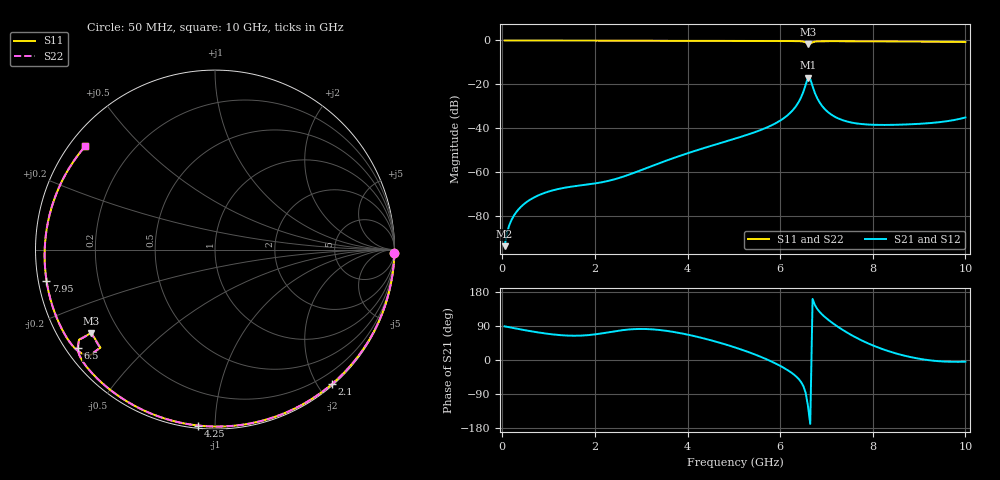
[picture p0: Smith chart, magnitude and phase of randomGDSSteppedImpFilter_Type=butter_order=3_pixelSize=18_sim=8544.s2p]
! freq	dB(S11)	phase(S11)	dB(S12)	phase(S12)
!  dB(S21)	phase(S21)	dB(S22)	phase(S22)
!S-par simulation data
#  GHz  S  DB  R 50
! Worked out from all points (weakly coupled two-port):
!   200 points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, 50 MHz to 10 GHz, reference 50 ohm
!   highest |S21| = -17.00 dB at 6.6 GHz (marker M1); lowest = -93.7 dB at 50 MHz (marker M2)
!   lowest |S11| = -1.6 dB at 6.6 GHz (marker M3), VSWR 10.76, Z = 5.07 - j15.1 ohm
!   |S11| at or under -10 dB: nowhere
!   |S22| runs from -1.6 to 0.0 dB; largest |S21 - S12| = 0
!   S11 on the Smith chart (normalised r, x): 50 MHz: 0, -95; 2.1 GHz: 0.02, -2.19; 4.25 GHz: 0.01, -0.91; 6.5 GHz: 0.03, -0.32; 7.95 GHz: 0.02, -0.09; 10 GHz: 0.04, +0.35
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0.05  -0.00 -1.2  -93.69 88.8  -93.69 88.8  -0.00 -1.2
0.25  -0.01 -6.0  -79.79 84.1  -79.79 84.1  -0.01 -6.0
0.5  -0.02 -11.9  -73.99 78.4  -73.99 78.4  -0.02 -11.9
0.85  -0.03 -20.2  -69.92 71.4  -69.92 71.4  -0.03 -20.2
1.75  -0.05 -41.2  -65.85 64.7  -65.85 64.7  -0.05 -41.2
2.1  -0.06 -49.1  -64.78 69.3  -64.78 69.3  -0.06 -49.1
3.4  -0.10 -77.7  -55.83 79.1  -55.83 79.1  -0.10 -77.7
4.25  -0.13 -95.5  -49.69 60.0  -49.69 60.0  -0.13 -95.5
5.05  -0.17 -111.8  -44.56 32.2  -44.56 32.2  -0.17 -111.8
6.05  -0.24 -132.4  -35.82 -18.7  -35.82 -18.7  -0.24 -132.4
6.3  -0.28 -138.1  -31.07 -38.7  -31.07 -38.7  -0.28 -138.1
6.5  -0.51 -144.3  -23.46 -68.5  -23.46 -68.5  -0.51 -144.2
6.6  -1.62 -146.0  -17.00 -120.7  -17.00 -120.7  -1.60 -146.0
6.65  -1.51 -139.5  -17.49 -168.7  -17.49 -168.7  -1.49 -139.5
6.7  -0.82 -139.7  -20.87 161.1  -20.87 161.1  -0.82 -139.8
6.85  -0.40 -145.0  -28.16 127.2  -28.16 127.2  -0.40 -145.0
7.1  -0.34 -151.2  -33.70 100.4  -33.70 100.4  -0.34 -151.2
7.45  -0.36 -158.9  -36.95 72.0  -36.95 72.0  -0.36 -158.9
7.95  -0.40 -169.6  -38.36 41.1  -38.36 41.1  -0.40 -169.6
8.35  -0.45 -178.3  -38.47 23.0  -38.47 23.0  -0.45 -178.3
9.2  -0.56 162.0  -37.69 -0.4  -37.69 -0.4  -0.56 162.0
10  -0.68 141.4  -35.08 -4.4  -35.08 -4.4  -0.68 141.4
